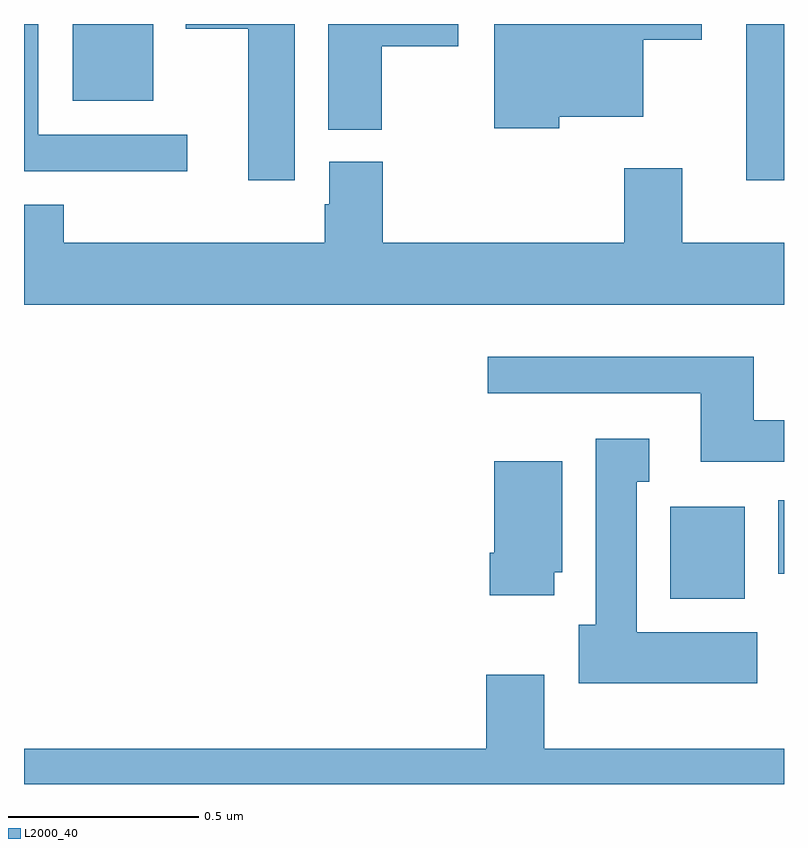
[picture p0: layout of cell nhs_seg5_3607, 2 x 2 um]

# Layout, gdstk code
import gdstk
lib = gdstk.Library(unit=1e-6, precision=1e-09)
def R(c, l, rs):  # rectangles x0, y0, x1, y1
    for r in rs: c.add(gdstk.rectangle(r[:2], r[2:], *l))
def P(c, l, *ps):  # polygons
    for p in ps: c.add(gdstk.Polygon(p, *l))
L2000_40 = (2000, 40)

nhs_seg5_3607 = lib.new_cell('nhs_seg5_3607')
R(nhs_seg5_3607, L2000_40, [(160.7,889.286,160.897,889.528), (160.985,889.352,161,889.546), (160.901,890.388,161,890.799), (159.128,890.597,159.34,890.799)])
P(nhs_seg5_3607, L2000_40, [(159.712,890.799),(159.425,890.799),(159.425,890.786),(159.59,890.786),(159.59,890.388),(159.712,890.388)],
  [(159.942,890.74),(160.143,890.74),(160.143,890.799),(159.8,890.799),(159.8,890.521),(159.942,890.521)],
  [(160.409,890.555),(160.63,890.555),(160.63,890.758),(160.783,890.758),(160.783,890.799),(160.238,890.799),(160.238,890.525),(160.409,890.525)],
  [(159.43,890.508),(159.037,890.508),(159.037,890.799),(159,890.799),(159,890.411),(159.43,890.411)],
  [(161,890.224),(160.732,890.224),(160.732,890.419),(160.58,890.419),(160.58,890.224),(159.944,890.224),(159.944,890.436),(159.803,890.436),(159.803,890.325),(159.791,890.325),(159.791,890.224),(159.104,890.224),(159.104,890.323),(159,890.323),(159,890.06),(161,890.06)],
  [(161,889.756),(160.921,889.756),(160.921,889.924),(160.221,889.924),(160.221,889.827),(160.781,889.827),(160.781,889.647),(161,889.647)],
  [(160.93,889.198),(160.612,889.198),(160.612,889.595),(160.645,889.595),(160.645,889.708),(160.505,889.708),(160.505,889.218),(160.46,889.218),(160.46,889.064),(160.93,889.064)],
  [(160.396,889.356),(160.417,889.356),(160.417,889.648),(160.238,889.648),(160.238,889.408),(160.226,889.408),(160.226,889.296),(160.396,889.296)],
  [(161,888.892),(160.369,888.892),(160.369,889.087),(160.217,889.087),(160.217,888.892),(159,888.892),(159,888.799),(161,888.799)])

lib.write_gds('nhs_seg5_3607.gds')
